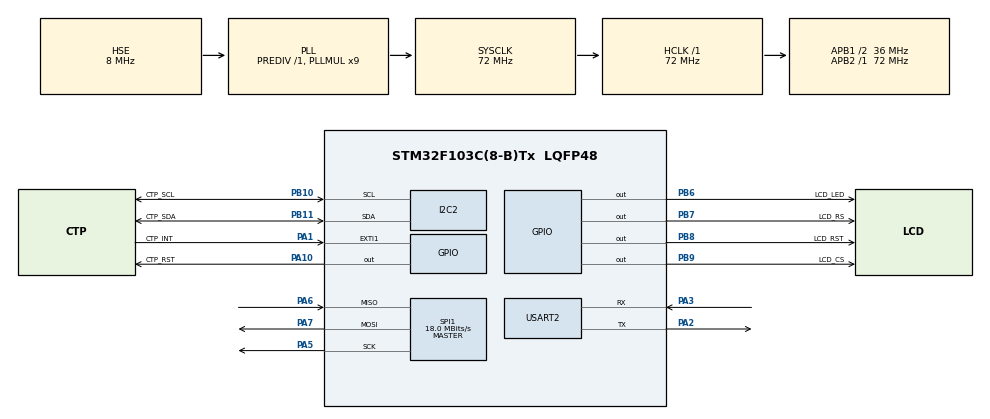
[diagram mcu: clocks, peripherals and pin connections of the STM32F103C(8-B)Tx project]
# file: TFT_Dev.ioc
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Dma.Request0=USART2_RX
Dma.Request1=USART2_TX
Dma.Request2=SPI1_TX
Dma.SPI1_TX.2.Direction=DMA_MEMORY_TO_PERIPH
Dma.SPI1_TX.2.Instance=DMA1_Channel3
Dma.SPI1_TX.2.MemDataAlignment=DMA_MDATAALIGN_BYTE
Dma.SPI1_TX.2.MemInc=DMA_MINC_ENABLE
Dma.SPI1_TX.2.Mode=DMA_NORMAL
Dma.SPI1_TX.2.PeriphDataAlignment=DMA_PDATAALIGN_BYTE
Dma.SPI1_TX.2.PeriphInc=DMA_PINC_DISABLE
Dma.SPI1_TX.2.Priority=DMA_PRIORITY_LOW
Dma.USART2_RX.0.Direction=DMA_PERIPH_TO_MEMORY
Dma.USART2_RX.0.Instance=DMA1_Channel6
Dma.USART2_RX.0.MemDataAlignment=DMA_MDATAALIGN_BYTE
Dma.USART2_RX.0.MemInc=DMA_MINC_ENABLE
Dma.USART2_RX.0.Mode=DMA_NORMAL
Dma.USART2_RX.0.PeriphDataAlignment=DMA_PDATAALIGN_BYTE
Dma.USART2_RX.0.PeriphInc=DMA_PINC_DISABLE
Dma.USART2_RX.0.Priority=DMA_PRIORITY_LOW
Dma.USART2_TX.1.Direction=DMA_MEMORY_TO_PERIPH
Dma.USART2_TX.1.Instance=DMA1_Channel7
Dma.USART2_TX.1.MemDataAlignment=DMA_MDATAALIGN_BYTE
Dma.USART2_TX.1.MemInc=DMA_MINC_ENABLE
Dma.USART2_TX.1.Mode=DMA_NORMAL
Dma.USART2_TX.1.PeriphDataAlignment=DMA_PDATAALIGN_BYTE
Dma.USART2_TX.1.PeriphInc=DMA_PINC_DISABLE
Dma.USART2_TX.1.Priority=DMA_PRIORITY_LOW
Mcu.Family=STM32F1
Mcu.Name=STM32F103C(8-B)Tx
Mcu.Package=LQFP48
NVIC.DMA1_Channel3_IRQn=true\:0\:0\:false\:false\:true\:false\:true\:true
NVIC.DMA1_Channel6_IRQn=true\:0\:0\:false\:false\:true\:false\:true\:true
NVIC.DMA1_Channel7_IRQn=true\:0\:0\:false\:false\:true\:false\:true\:true
NVIC.EXTI1_IRQn=true\:0\:0\:false\:false\:true\:true\:true\:true
NVIC.PriorityGroup=NVIC_PRIORITYGROUP_4
NVIC.TIM1_UP_IRQn=true\:0\:0\:false\:false\:true\:true\:true\:true
NVIC.USART2_IRQn=true\:0\:0\:false\:false\:true\:false\:true\:true
PA1.GPIO_Label=CTP_INT
PA1.Signal=GPXTI1
PA10.GPIO_Label=CTP_RST
PA10.Signal=GPIO_Output
PA13.Mode=Serial_Wire
PA13.Signal=SYS_JTMS-SWDIO
PA14.Mode=Serial_Wire
PA14.Signal=SYS_JTCK-SWCLK
PA2.Mode=Asynchronous
PA2.Signal=USART2_TX
PA3.Mode=Asynchronous
PA3.Signal=USART2_RX
PA5.Mode=Full_Duplex_Master
PA5.Signal=SPI1_SCK
PA6.Mode=Full_Duplex_Master
PA6.Signal=SPI1_MISO
PA7.Mode=Full_Duplex_Master
PA7.Signal=SPI1_MOSI
PB10.GPIO_Label=CTP_SCL
PB10.Mode=I2C
PB10.Signal=I2C2_SCL
PB11.GPIO_Label=CTP_SDA
PB11.Mode=I2C
PB11.Signal=I2C2_SDA
PB6.GPIO_Label=LCD_LED
PB6.Signal=GPIO_Output
PB7.GPIO_Label=LCD_RS
PB7.Signal=GPIO_Output
PB8.GPIO_Label=LCD_RST
PB8.Signal=GPIO_Output
PB9.GPIO_Label=LCD_CS
PB9.Signal=GPIO_Output
PD0-OSC_IN.Mode=HSE-External-Oscillator
PD0-OSC_IN.Signal=RCC_OSC_IN
PD1-OSC_OUT.Mode=HSE-External-Oscillator
PD1-OSC_OUT.Signal=RCC_OSC_OUT
ProjectManager.HeapSize=0x200
ProjectManager.StackSize=0x400
ProjectManager.TargetToolchain=MDK-ARM V5
RCC.AHBFreq_Value=72000000
RCC.APB1CLKDivider=RCC_HCLK_DIV2
RCC.APB1Freq_Value=36000000
RCC.APB1TimFreq_Value=72000000
RCC.APB2Freq_Value=72000000
RCC.APB2TimFreq_Value=72000000
RCC.HCLKFreq_Value=72000000
RCC.PLLMUL=RCC_PLL_MUL9
RCC.PLLSourceVirtual=RCC_PLLSOURCE_HSE
RCC.SYSCLKFreq_VALUE=72000000
RCC.SYSCLKSource=RCC_SYSCLKSOURCE_PLLCLK
RCC.USBFreq_Value=72000000
SPI1.BaudRatePrescaler=SPI_BAUDRATEPRESCALER_4
SPI1.CLKPhase=SPI_PHASE_2EDGE
SPI1.CLKPolarity=SPI_POLARITY_HIGH
SPI1.CalculateBaudRate=18.0 MBits/s
SPI1.Direction=SPI_DIRECTION_2LINES
SPI1.Mode=SPI_MODE_MASTER
SPI1.VirtualType=VM_MASTER
TIM1.Period=999
TIM1.Prescaler=73
USART2.VirtualMode=VM_ASYNC
VP_TIM1_VS_ClockSourceINT.Mode=Internal
board=custom

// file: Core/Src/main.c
/* USER CODE BEGIN Header */
/**
  ******************************************************************************
  * @file           : main.c
  * @brief          : Main program body
  ******************************************************************************
  * @attention
  *
  * Copyright (c) 2025 STMicroelectronics.
  * All rights reserved.
  *
  * This software is licensed under terms that can be found in the LICENSE file
  * in the root directory of this software component.
  * If no LICENSE file comes with this software, it is provided AS-IS.
  *
  ******************************************************************************
  */
/* USER CODE END Header */
#include "main.h"
#include "dma.h"
#include "i2c.h"
#include "spi.h"
#include "tim.h"
#include "usart.h"
#include "gpio.h"

/* USER CODE BEGIN Includes */
// #include "CTP.h"
// #include "ILI9341.h"
#include "LCD.h"
/* USER CODE END Includes */

/* USER CODE BEGIN PTD */

LCD_Class_t LCD = {
  .touch = {
  .i2c.addr = 0x70,
  .i2c.byte = NULL,
  .i2c.buf = NULL,
  .i2c.handle = &hi2c2,
  .i2c.Timeout = 10,
  .flag.DMA = 0,
  .Hardware.RST.Pin = GPIO_PIN_10,
  .Hardware.RST.Port = GPIOA,
  },
  .display = {
  .spi.buf = NULL,
  .spi.bytes = NULL,
  .spi.DMA = true,
  .spi.Timeout = 10,
  .spi.handle = &hspi1,
  .spi.size = 0,
  .Hardware.CS.Pin = GPIO_PIN_9,
  .Hardware.CS.Port = GPIOB,
  .Hardware.LED.Pin = GPIO_PIN_6,
  .Hardware.LED.Port = GPIOB,
  .Hardware.RS.Pin = GPIO_PIN_7,
  .Hardware.RS.Port = GPIOB,
  .Hardware.RST.Pin = GPIO_PIN_8,
  .Hardware.RST.Port = GPIOB,
  },
  .width = 240,
  .height = 320,
};
/* USER CODE END PTD */

void SystemClock_Config(void);

int main(void)
{

  /* MCU Configuration--------------------------------------------------------*/

  /* Reset of all peripherals, Initializes the Flash interface and the Systick. */
  HAL_Init();

  /* Configure the system clock */
  SystemClock_Config();

  /* Initialize all configured peripherals */
  MX_GPIO_Init();
  MX_DMA_Init();
  MX_SPI1_Init();
  MX_I2C2_Init();
  MX_USART2_UART_Init();
  MX_TIM1_Init();
  /* USER CODE BEGIN 2 */

  LCD_Init(&LCD);
//  LCD_DrawLine(&LCD,0,0,240,320,RED,50);
//  LCD_DrawLine(&LCD,240,0,0,320,BLUE,50);
//  LCD_DrawFille_Circle(&LCD,120,120,100,MAGENTA);
//  LCD_DrawFille_Circle(&LCD,120,120,90,BROWN);
//  LCD_DrawFille_Circle(&LCD,120,120,80,TURQUOISE);
//  LCD_DrawFille_Circle(&LCD,120,120,70,GRAY);
//  LCD_DrawFille_Circle(&LCD,120,120,60,YELLOW);
//  LCD_DrawFille_Circle(&LCD,120,120,50,BLACK);
//  LCD_DrawFille_Circle(&LCD,120,120,40,RED);
//  LCD_DrawFille_Circle(&LCD,120,120,30,VIOLET);
//  LCD_DrawFille_Circle(&LCD,120,120,20,IVORY);
//  LCD_DrawFille_Circle(&LCD,120,120,10,CYAN);
//  LCD_DrawFille_Circle(&LCD,120,120,5,SALMON);
//  LCD_DrawFille_Circle(&LCD,120,120,3,BLACK);
//  LCD_DrawOval(&LCD, 120, 120, 50, 30, BLACK,2);
//  LCD_DrawFillOval(&LCD, 120, 120, 50, 30, BLACK);
//   LCD_DrawCircle(&LCD,120,200,50,BLUE,3);
//  LCD_DrawFillRectangle(&LCD,0,0,120,120,BLACK);
//  LCD_DrawRectangle(&LCD,50,20,120,120,BLACK,1);
//  LCD_DrawFilledTriangle(&LCD,50,50,20,100,40,100,PURPLE);
  LCD_ShowString(&LCD,10,45,GREEN,YELLOW,(uint8_t *)"6X12:ABCDEFGHIJKL@MNOPQRSTUVWXYZ0123456789",18,0);
  /* USER CODE END 2 */

  /* Infinite loop */
  /* USER CODE BEGIN WHILE */
  while (1)
  {
    CTP_mainLoop(&LCD.touch);
	//LCD_DrawLine(&LCD,0,0,240,320,BLUE);
    /* USER CODE END WHILE */

  }
}

void SystemClock_Config(void)
{
  RCC_OscInitTypeDef RCC_OscInitStruct = {0};
  RCC_ClkInitTypeDef RCC_ClkInitStruct = {0};

  /** Initializes the RCC Oscillators according to the specified parameters
  * in the RCC_OscInitTypeDef structure.
  */
  RCC_OscInitStruct.OscillatorType = RCC_OSCILLATORTYPE_HSE;
  RCC_OscInitStruct.HSEState = RCC_HSE_ON;
  RCC_OscInitStruct.HSEPredivValue = RCC_HSE_PREDIV_DIV1;
  RCC_OscInitStruct.HSIState = RCC_HSI_ON;
  RCC_OscInitStruct.PLL.PLLState = RCC_PLL_ON;
  RCC_OscInitStruct.PLL.PLLSource = RCC_PLLSOURCE_HSE;
  RCC_OscInitStruct.PLL.PLLMUL = RCC_PLL_MUL9;
  if (HAL_RCC_OscConfig(&RCC_OscInitStruct) != HAL_OK)
  {
    Error_Handler();
  }

  /** Initializes the CPU, AHB and APB buses clocks
  */
  RCC_ClkInitStruct.ClockType = RCC_CLOCKTYPE_HCLK|RCC_CLOCKTYPE_SYSCLK
                              |RCC_CLOCKTYPE_PCLK1|RCC_CLOCKTYPE_PCLK2;
  RCC_ClkInitStruct.SYSCLKSource = RCC_SYSCLKSOURCE_PLLCLK;
  RCC_ClkInitStruct.AHBCLKDivider = RCC_SYSCLK_DIV1;
  RCC_ClkInitStruct.APB1CLKDivider = RCC_HCLK_DIV2;
  RCC_ClkInitStruct.APB2CLKDivider = RCC_HCLK_DIV1;

  if (HAL_RCC_ClockConfig(&RCC_ClkInitStruct, FLASH_LATENCY_2) != HAL_OK)
  {
    Error_Handler();
  }
}

void Error_Handler(void)
{
  __disable_irq();
  while (1)
  {
  }
}
